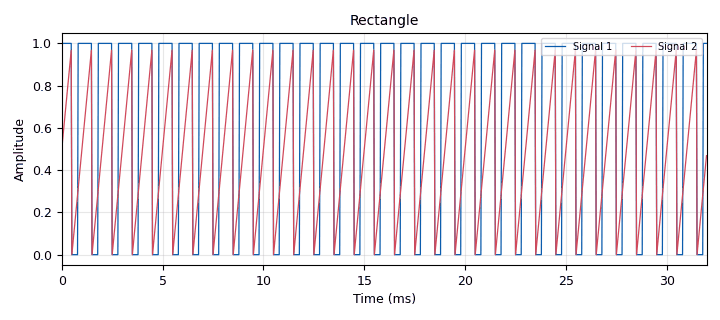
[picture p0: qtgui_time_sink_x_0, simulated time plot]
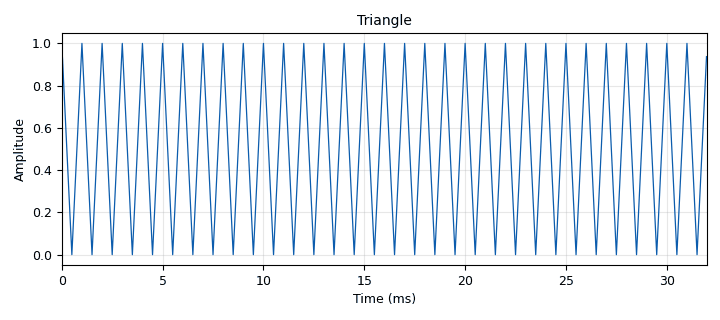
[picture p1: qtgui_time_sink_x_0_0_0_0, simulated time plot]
options:
  parameters:
    author: RJ
    generate_options: qt_gui
    id: BSP_SSGEN
    output_language: python
    title: BSP_SSGEN
  states: {}

blocks:
- name: samp_rate
  id: variable
  parameters:
    value: '32000'
  states: {}
- name: analog_sig_source_x_0
  id: analog_sig_source_x
  parameters:
    amp: '1'
    freq: '1000'
    offset: '0'
    phase: '0'
    samp_rate: samp_rate
    type: float
    waveform: analog.GR_SAW_WAVE
  states: {}
- name: analog_sig_source_x_1
  id: analog_sig_source_x
  parameters:
    amp: '1'
    freq: '1000'
    offset: '0'
    phase: '0'
    samp_rate: samp_rate
    type: float
    waveform: analog.GR_TRI_WAVE
  states: {}
- name: blocks_threshold_ff_0
  id: blocks_threshold_ff
  parameters:
    high: '0.3'
    init: '0'
    low: '0.3'
  states: {}
- name: blocks_throttle2_0
  id: blocks_throttle2
  parameters:
    samples_per_second: samp_rate
    type: float
  states: {}
- name: blocks_throttle2_0_0_0_0
  id: blocks_throttle2
  parameters:
    samples_per_second: samp_rate
    type: float
  states: {}
- name: qtgui_time_sink_x_0
  id: qtgui_time_sink_x
  parameters:
    autoscale: 'True'
    name: '"Rectangle"'
    nconnections: '2'
    size: '1024'
    srate: samp_rate
    type: float
  states: {}
- name: qtgui_time_sink_x_0_0_0_0
  id: qtgui_time_sink_x
  parameters:
    autoscale: 'True'
    name: '"Triangle"'
    size: '1024'
    srate: samp_rate
    type: float
  states: {}

connections:
- [analog_sig_source_x_0, '0', blocks_threshold_ff_0, '0']
- [analog_sig_source_x_0, '0', qtgui_time_sink_x_0, '1']
- [analog_sig_source_x_1, '0', blocks_throttle2_0_0_0_0, '0']
- [blocks_threshold_ff_0, '0', blocks_throttle2_0, '0']
- [blocks_throttle2_0, '0', qtgui_time_sink_x_0, '0']
- [blocks_throttle2_0_0_0_0, '0', qtgui_time_sink_x_0_0_0_0, '0']

metadata:
  file_format: 1
  grc_version: 3.10.11.0
